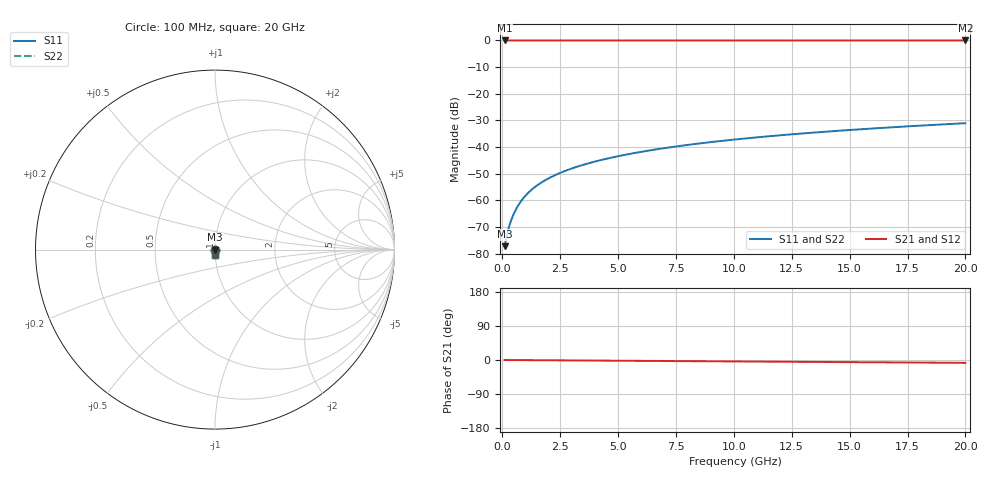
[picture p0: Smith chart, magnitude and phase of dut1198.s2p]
! Touchstone file exported from HFSS 2026.1.0
!  File:  C:/ffzhzh/LocalFiles/Ansys_Project_Files/temp_train_TSV_1198_1783192569_18472.aedt
!  Generated:  03:17:33 AM Jul  5, 2026
!  Design:  TSV
!  Project:  temp_train_TSV_1198_1783192569_18472
! Variables:
!  h_bsmrdl = 2um
!  h_ox = 20um
!  h_rdl = 5um
!  h_sub = 74.95um
!  h_tmrdl = 5um
!  h_tsv = 74.95um
!  h_via = 3um
!  l_bsmrdl = 300um
!  l_sub = 423.6um
!  l_tmrdl = 200um
!  m_sub = 200um
!  pitch = 38.66um
!  r_tsv = 11.8um
!  s_tmrdl = 10um
!  w_bsmrdl = 18um
!  w_sub = 500um
!  w_tmrdl = 12um
!  x_tsv_center1 = 206um
!  x_tsv_center2 = 524um
!  x_tsv_center3 = 736um
!  x_tsv_center4 = 1054um
!  x_tsv_center5 = 1266um
!  x_tsv_center6 = 1584um
# GHz S MA R 50.000000
! Terminal data exported
! Port[1] = TSV1_1_T1
! Port[2] = TSV1_1_T2
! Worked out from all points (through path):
!   200 points, 100 MHz to 20 GHz, reference 50 ohm
!   highest |S21| = 0.00 dB at 100 MHz (marker M1); lowest = 0.0 dB at 20 GHz (marker M2)
!   group delay of S21, straight-line fit = 1.04 ps
!   lowest |S11| = -77.1 dB at 100 MHz (marker M3), VSWR 1.00, Z = 50 - j0.00979 ohm
!   |S11| at or under -10 dB: start of sweep to end of sweep
!   |S22| runs from -77.1 to -31.0 dB; largest |S21 - S12| = 3.2e-15
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0.1  0.0001392 -44.7  0.9999 -0.0  0.9999 -0.0  0.0001392 -44.7
! Gamma 0 0 0 0
! Port Impedance 50 0 50 0
0.2  0.0002284 -60.7  0.9999 -0.1  0.9999 -0.1  0.0002284 -60.7
0.3  0.0003331 -66.8  0.9999 -0.1  0.9999 -0.1  0.0003331 -66.8
0.4  0.0004472 -69.9  0.9998 -0.2  0.9998 -0.2  0.0004472 -69.9
0.5  0.0005684 -71.9  0.9998 -0.2  0.9998 -0.2  0.0005684 -71.9
0.6  0.0006951 -73.3  0.9998 -0.2  0.9998 -0.2  0.0006951 -73.3
0.8  0.0009587 -75.6  0.9998 -0.3  0.9998 -0.3  0.0009587 -75.6
1.1  0.001366 -78.1  0.9997 -0.4  0.9997 -0.4  0.001366 -78.1
1.3  0.001641 -79.4  0.9997 -0.5  0.9997 -0.5  0.001641 -79.4
1.5  0.001916 -80.4  0.9997 -0.6  0.9997 -0.6  0.001916 -80.4
1.8  0.002328 -81.7  0.9996 -0.7  0.9996 -0.7  0.002328 -81.7
2.1  0.002741 -82.7  0.9996 -0.8  0.9996 -0.8  0.002741 -82.7
2.7  0.003566 -84.1  0.9996 -1.0  0.9996 -1.0  0.003566 -84.1
3.5  0.004672 -85.4  0.9995 -1.3  0.9995 -1.3  0.004672 -85.4
4.2  0.005644 -86.3  0.9995 -1.6  0.9995 -1.6  0.005644 -86.2
5  0.006762 -87.0  0.9994 -1.9  0.9994 -1.9  0.006762 -87.0
6.8  0.009298 -88.4  0.9993 -2.6  0.9993 -2.6  0.009298 -88.4
8.3  0.01142 -89.4  0.9992 -3.1  0.9992 -3.1  0.01142 -89.4
10.1  0.01398 -90.4  0.9991 -3.8  0.9991 -3.8  0.01398 -90.4
13.4  0.01868 -92.1  0.9989 -5.0  0.9989 -5.0  0.01868 -92.1
16.7  0.02339 -93.7  0.9987 -6.3  0.9987 -6.3  0.02339 -93.7
20  0.02811 -95.1  0.9984 -7.5  0.9984 -7.5  0.02811 -95.1
